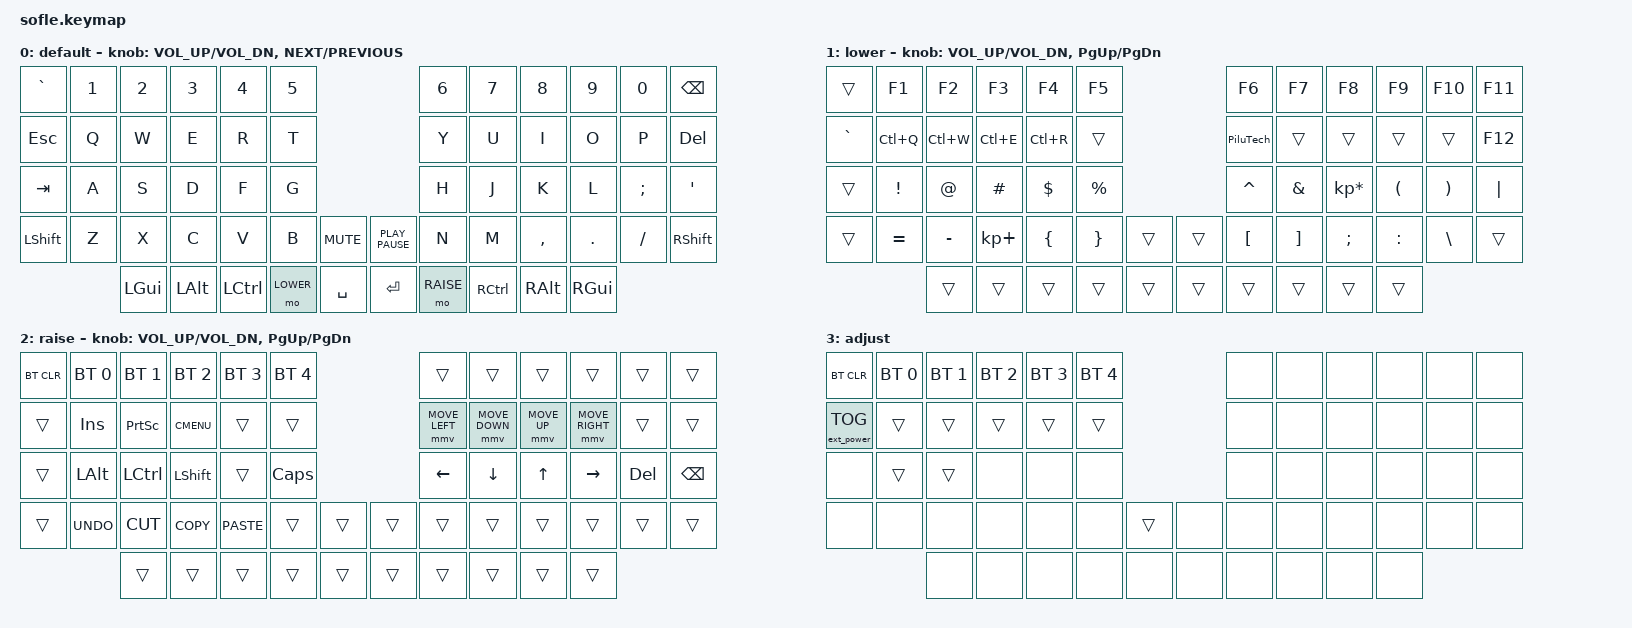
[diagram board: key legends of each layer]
/*
 * Copyright (c) 2020 The ZMK Contributors
 *
 * SPDX-License-Identifier: MIT
 */

#include <behaviors.dtsi>
#include <dt-bindings/zmk/bt.h>
#include <dt-bindings/zmk/ext_power.h>
#include <dt-bindings/zmk/keys.h>

#define BASE 0
#define LOWER 1
#define RAISE 2
#define ADJUST 3

/ {
    // Activate ADJUST layer by pressing raise and lower

    conditional_layers {
        compatible = "zmk,conditional-layers";

        adjust_layer {
            if-layers = <LOWER RAISE>;
            then-layer = <ADJUST>;
        };
    };

    macros {
        PiluTech: PiluTech {
            compatible = "zmk,behavior-macro";
            #binding-cells = <0>;
            bindings = <&kp LS(ENTER) &kp LS(V) &kp LS(O) &kp LS(C) &kp SPACE &kp LS(F) &kp LS(O) &kp LS(I) &kp SPACE &kp LS(R) &kp LS(U) &kp LS(L) &kp LS(A) &kp LS(D) &kp LS(O) &kp SPACE &kp LS(P) &kp LS(E) &kp LS(L) &kp LS(O) &kp SPACE &kp LS(P) &kp LS(I) &kp LS(L) &kp LS(U) &kp LS(T) &kp LS(E) &kp LS(C) &kp LS(H) &kp COMMA &kp SPACE &kp LS(P) &kp LS(A) &kp LS(S) &kp LS(S) &kp LS(E) &kp SPACE &kp LS(O) &kp SPACE &kp LS(P) &kp LS(I) &kp LS(X) &kp SPACE &kp LS(I) &kp LS(M) &kp LS(E) &kp LS(D) &kp LS(I) &kp LS(A) &kp LS(T) &kp LS(A) &kp LS(M) &kp LS(E) &kp LS(N) &kp LS(T) &kp LS(E) &kp LS(V) &kp LS(O) &kp LS(C) &kp LS(E) &kp SPACE &kp LS(F) &kp LS(O) &kp LS(I) &kp SPACE &kp LS(R) &kp LS(U) &kp LS(L) &kp LS(A) &kp LS(D) &kp LS(O) &kp SPACE &kp LS(P) &kp LS(E) &kp LS(L) &kp LS(O) &kp SPACE &kp LS(P) &kp LS(I) &kp LS(L) &kp LS(U) &kp LS(T) &kp LS(E) &kp LS(C) &kp LS(H) &kp COMMA &kp SPACE &kp LS(F) &kp LS(A) &kp LS(C) &kp LS(A) &kp SPACE &kp LS(O) &kp SPACE &kp LS(P) &kp LS(I) &kp LS(X) &kp SPACE &kp LS(I) &kp LS(M) &kp LS(E) &kp LS(D) &kp LS(I) &kp LS(A) &kp LS(T) &kp LS(A) &kp LS(M) &kp LS(E) &kp LS(N) &kp LS(T) &kp LS(E)>;
            label = "PILUTECH";
        };

        GGIZI: GGIZI {
            compatible = "zmk,behavior-macro";
            #binding-cells = <0>;
            bindings = <&kp RS(ENTER) &kp LS(G) &kp LS(G) &kp SPACE &kp LS(I) &kp LS(Z) &kp LS(I) &kp SPACE &kp LS(P) &kp LS(O) &kp LS(R) &kp LS(R) &kp LS(A) &kp COMMA &kp SPACE &kp LS(F) &kp LS(I) &kp LS(C) &kp LS(A) &kp SPACE &kp LS(C) &kp LS(O) &kp LS(M) &kp SPACE &kp LS(E) &kp LS(S) &kp LS(S) &kp LS(A) &kp SPACE &kp LS(S) &kp LS(E) &kp LS(U) &kp LS(S) &kp SPACE &kp N4 &kp LS(H) &kp LS(E) &kp LS(A) &kp LS(D) &kp SPACE &kp LS(D) &kp LS(O) &kp SPACE &kp LS(K) &kp LS(R) &kp LS(L)>;
            label = "GGIZI";
        };
    };

    keymap {
        compatible = "zmk,keymap";

        default_layer {
            label = "default";

            // ------------------------------------------------------------------------------------------------------------
            // |   `   |  1  |  2  |  3   |  4   |  5   |                   |  6   |  7    |  8    |  9   |   0   |       |
            // |  ESC  |  Q  |  W  |  E   |  R   |  T   |                   |  Y   |  U    |  I    |  O   |   P   | BKSPC |
            // |  TAB  |  A  |  S  |  D   |  F   |  G   |                   |  H   |  J    |  K    |  L   |   ;   |   '   |
            // | SHIFT |  Z  |  X  |  C   |  V   |  B   |  MUTE  |  |       |  N   |  M    |  ,    |  .   |   /   | SHIFT |
            //               | GUI | ALT  | CTRL | LOWER|  ENTER |  | SPACE | RAISE| CTRL  | ALT   | GUI  |

            bindings = <
&kp GRAVE  &kp N1  &kp N2    &kp N3    &kp N4     &kp N5                                     &kp N6     &kp N7     &kp N8     &kp N9    &kp N0    &kp BACKSPACE
&kp ESC    &kp Q   &kp W     &kp E     &kp R      &kp T                                      &kp Y      &kp U      &kp I      &kp O     &kp P     &kp DELETE
&kp TAB    &kp A   &kp S     &kp D     &kp F      &kp G                                      &kp H      &kp J      &kp K      &kp L     &kp SEMI  &kp SQT
&kp LSHFT  &kp Z   &kp X     &kp C     &kp V      &kp B      &kp C_MUTE    &kp K_PLAY_PAUSE  &kp N      &kp M      &kp COMMA  &kp DOT   &kp FSLH  &kp RSHFT
                   &kp LGUI  &kp LALT  &kp LCTRL  &mo LOWER  &kp SPACE     &kp ENTER         &mo RAISE  &kp RCTRL  &kp RALT   &kp RGUI
            >;

            sensor-bindings =
                <&inc_dec_kp C_VOL_UP C_VOL_DN>,
                <&inc_dec_kp K_NEXT K_PREVIOUS>;
        };

        lower_layer {
            label = "lower";

            // TODO: Some binds are waiting for shifted keycode support.
            // ------------------------------------------------------------------------------------------------------------
            // |       |  F1 |  F2 |  F3  |  F4  |  F5  |                   |  F6  |  F7   |  F8   |  F9  |  F10  |  F11  |
            // |   `   |  1  |  2  |  3   |  4   |  5   |                   |  6   |  7    |  8    |  9   |   0   |  F12  |
            // |       |  !  |  @  |  #   |  $   |  %   |                   |  ^   |  &    |  *    |  (   |   )   |   |   |
            // |       |  =  |  -  |  +   |  {   |  }   |        |  |       |  [   |  ]    |  ;    |  :   |   \   |       |
            //               |     |      |      |      |        |  |       |      |       |       |      |

            bindings = <
&trans     &kp F1     &kp F2     &kp F3       &kp F4     &kp F5                       &kp F6     &kp F7    &kp F8           &kp F9     &kp F10   &kp F11
&kp GRAVE  &kp LC(Q)  &kp LC(W)  &kp LC(E)    &kp LC(R)  &trans                       &PiluTech  &trans    &trans           &trans     &trans    &kp F12
&trans     &kp EXCL   &kp AT     &kp HASH     &kp DLLR   &kp PRCNT                    &kp CARET  &kp AMPS  &kp KP_MULTIPLY  &kp LPAR   &kp RPAR  &kp PIPE
&trans     &kp EQUAL  &kp MINUS  &kp KP_PLUS  &kp LBRC   &kp RBRC   &trans    &trans  &kp LBKT   &kp RBKT  &kp SEMI         &kp COLON  &kp BSLH  &trans
                      &trans     &trans       &trans     &trans     &trans    &trans  &trans     &trans    &trans           &trans
            >;

            sensor-bindings = <&inc_dec_kp C_VOL_UP C_VOL_DN &inc_dec_kp PG_UP PG_DN>;
        };

        raise_layer {
            label = "raise";

            // ------------------------------------------------------------------------------------------------------------
            // | BTCLR | BT1  | BT2  |  BT3  |  BT4  |  BT5 |                |      |      |       |      |       |       |
            // |       | INS  | PSCR | GUI   |       |      |                | PGUP |      |   ^   |      |       |       |
            // |       | ALT  | CTRL | SHIFT |       | CAPS |                | PGDN |   <- |   v   |  ->  |  DEL  | BKSPC |
            // |       | UNDO | CUT  | COPY  | PASTE |      |      |  |      |      |      |       |      |       |       |
            //                |      |       |       |      |      |  |      |      |      |       |      |

            bindings = <
&bt BT_CLR  &bt BT_SEL 0  &bt BT_SEL 1  &bt BT_SEL 2  &bt BT_SEL 3  &bt BT_SEL 4                    &trans          &trans          &trans        &trans           &trans   &trans
&trans      &kp INS       &kp PSCRN     &kp K_CMENU   &trans        &trans                          &mmv MOVE_LEFT  &mmv MOVE_DOWN  &mmv MOVE_UP  &mmv MOVE_RIGHT  &trans   &trans
&trans      &kp LALT      &kp LCTRL     &kp LSHFT     &trans        &kp CLCK                        &kp LEFT        &kp DOWN_ARROW  &kp UP_ARROW  &kp RIGHT        &kp DEL  &kp BSPC
&trans      &kp K_UNDO    &kp K_CUT     &kp K_COPY    &kp K_PASTE   &trans        &trans    &trans  &trans          &trans          &trans        &trans           &trans   &trans
                          &trans        &trans        &trans        &trans        &trans    &trans  &trans          &trans          &trans        &trans
            >;

            sensor-bindings = <&inc_dec_kp C_VOL_UP C_VOL_DN &inc_dec_kp PG_UP PG_DN>;
        };

        adjust_layer {
            // ----------------------------------------------------------------------------------------------------------------------------
            // | BTCLR  |  BT1    |  BT2    |   BT3   |   BT4   |   BT5   |                  |      |      |       |      |       |       |
            // | EXTPWR | RGB_HUD | RGB_HUI | RGB_SAD | RGB_SAI | RGB_EFF |                  |      |      |       |      |       |       |
            // |        | RGB_BRD | RGB_BRI |         |         |         |                  |      |      |       |      |       |       |
            // |        |         |         |         |         |         | RGB_TOG | |      |      |      |       |      |       |       |
            //                    |         |         |         |         |         | |      |      |      |       |      |

            label = "adjust";
            bindings = <
&bt BT_CLR         &bt BT_SEL 0  &bt BT_SEL 1  &bt BT_SEL 2  &bt BT_SEL 3  &bt BT_SEL 4                   &none  &none  &none  &none  &none  &none
&ext_power EP_TOG  &trans        &trans        &trans        &trans        &trans                         &none  &none  &none  &none  &none  &none
&none              &trans        &trans        &none         &none         &none                          &none  &none  &none  &none  &none  &none
&none              &none         &none         &none         &none         &none         &trans    &none  &none  &none  &none  &none  &none  &none
                                 &none         &none         &none         &none         &none     &none  &none  &none  &none  &none
            >;
        };
    };
};
